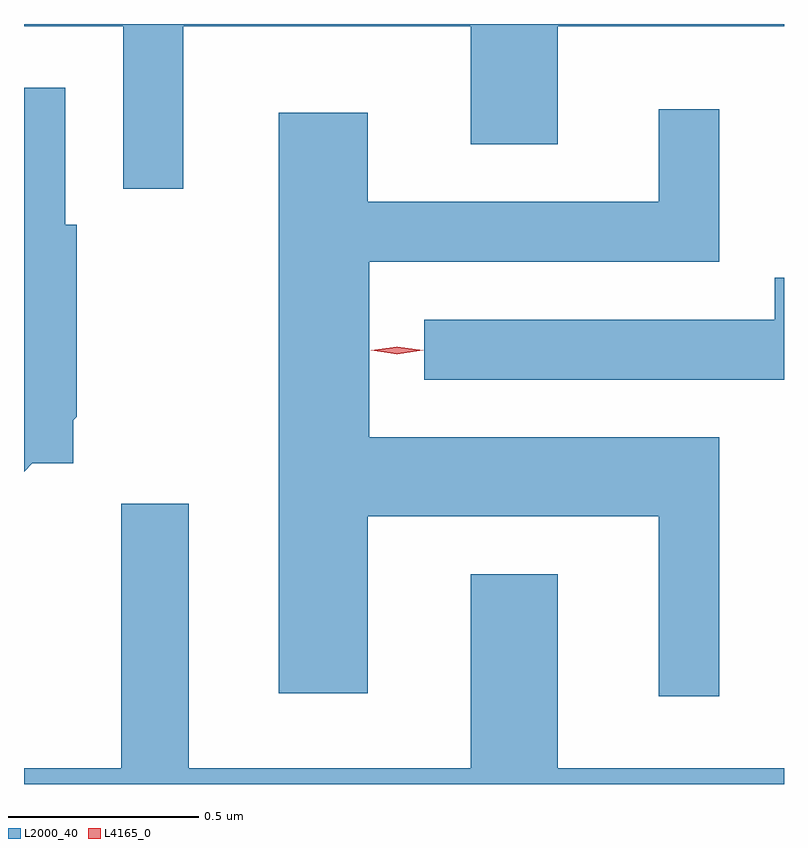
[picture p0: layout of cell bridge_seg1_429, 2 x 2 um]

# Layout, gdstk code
import gdstk
lib = gdstk.Library(unit=1e-6, precision=1e-09)
def P(c, l, *ps):  # polygons
    for p in ps: c.add(gdstk.Polygon(p, *l))
L2000_40 = (2000, 40)
L4165_0 = (4165, 0)

bridge_seg1_429 = lib.new_cell('bridge_seg1_429')
P(bridge_seg1_429, L2000_40, [(391.904,926.216),(392.661,926.216),(392.661,925.906),(392.889,925.906),(392.889,926.216),(393.485,926.216),(393.485,926.222),(391.485,926.222),(391.485,926.216),(391.746,926.216),(391.746,925.788),(391.904,925.788)],
  [(391.507,925.066),(391.614,925.066),(391.614,925.179),(391.624,925.189),(391.624,925.694),(391.594,925.694),(391.594,926.054),(391.485,926.054),(391.485,925.044)],
  [(393.314,925.134),(392.394,925.134),(392.394,925.596),(393.314,925.596),(393.314,925.998),(393.156,925.998),(393.156,925.754),(392.389,925.754),(392.389,925.989),(392.156,925.989),(392.156,924.461),(392.389,924.461),(392.389,924.926),(393.156,924.926),(393.156,924.453),(393.314,924.453)],
  [(393.485,925.554),(393.461,925.554),(393.461,925.444),(392.538,925.444),(392.538,925.286),(393.485,925.286)],
  [(393.485,924.264),(392.889,924.264),(392.889,924.774),(392.661,924.774),(392.661,924.264),(391.919,924.264),(391.919,924.959),(391.741,924.959),(391.741,924.264),(391.485,924.264),(391.485,924.222),(393.485,924.222)])
P(bridge_seg1_429, L4165_0, [(392.466,925.353),(392.4,925.363),(392.4,925.363),(392.4,925.364),(392.466,925.373),(392.532,925.364),(392.533,925.363),(392.532,925.363)],
  [(392.467,925.353),(392.398,925.363),(392.397,925.363),(392.398,925.364),(392.467,925.373),(392.536,925.364),(392.536,925.363),(392.536,925.363)])

lib.write_gds('bridge_seg1_429.gds')
